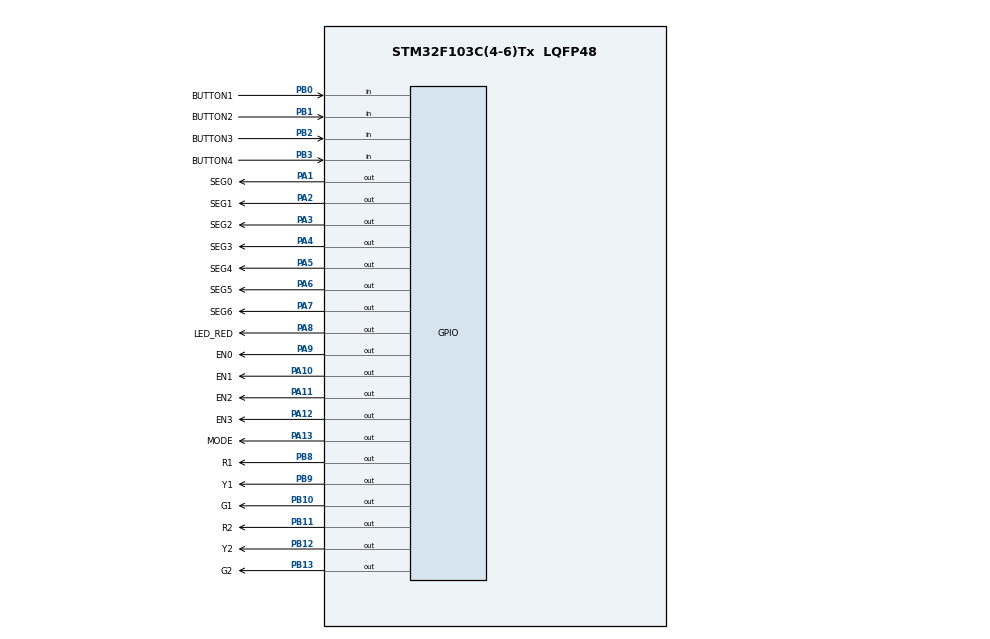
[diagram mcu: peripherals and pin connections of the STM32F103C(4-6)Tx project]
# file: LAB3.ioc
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Mcu.Family=STM32F1
Mcu.Name=STM32F103C(4-6)Tx
Mcu.Package=LQFP48
NVIC.PriorityGroup=NVIC_PRIORITYGROUP_4
NVIC.TIM2_IRQn=true\:0\:0\:false\:false\:true\:true\:true\:true
PA1.GPIO_Label=SEG0
PA1.Signal=GPIO_Output
PA10.GPIO_Label=EN1
PA10.Signal=GPIO_Output
PA11.GPIO_Label=EN2
PA11.Signal=GPIO_Output
PA12.GPIO_Label=EN3
PA12.Signal=GPIO_Output
PA13.GPIO_Label=MODE
PA13.Signal=GPIO_Output
PA2.GPIO_Label=SEG1
PA2.Signal=GPIO_Output
PA3.GPIO_Label=SEG2
PA3.Signal=GPIO_Output
PA4.GPIO_Label=SEG3
PA4.Signal=GPIO_Output
PA5.GPIO_Label=SEG4
PA5.Signal=GPIO_Output
PA6.GPIO_Label=SEG5
PA6.Signal=GPIO_Output
PA7.GPIO_Label=SEG6
PA7.Signal=GPIO_Output
PA8.GPIO_Label=LED_RED
PA8.Signal=GPIO_Output
PA9.GPIO_Label=EN0
PA9.Signal=GPIO_Output
PB0.GPIO_Label=BUTTON1
PB0.GPIO_PuPd=GPIO_PULLUP
PB0.Signal=GPIO_Input
PB1.GPIO_Label=BUTTON2
PB1.GPIO_PuPd=GPIO_PULLUP
PB1.Signal=GPIO_Input
PB10.GPIO_Label=G1
PB10.Signal=GPIO_Output
PB11.GPIO_Label=R2
PB11.Signal=GPIO_Output
PB12.GPIO_Label=Y2
PB12.Signal=GPIO_Output
PB13.GPIO_Label=G2
PB13.Signal=GPIO_Output
PB2.GPIO_Label=BUTTON3
PB2.GPIO_PuPd=GPIO_PULLUP
PB2.Signal=GPIO_Input
PB3.GPIO_Label=BUTTON4
PB3.GPIO_PuPd=GPIO_PULLUP
PB3.Signal=GPIO_Input
PB8.GPIO_Label=R1
PB8.Signal=GPIO_Output
PB9.GPIO_Label=Y1
PB9.Signal=GPIO_Output
ProjectManager.HeapSize=0x200
ProjectManager.StackSize=0x400
ProjectManager.TargetToolchain=STM32CubeIDE
RCC.APB1Freq_Value=8000000
RCC.APB2Freq_Value=8000000
TIM2.Period=9
TIM2.Prescaler=7999
VP_SYS_VS_ND.Mode=No_Debug
VP_TIM2_VS_ClockSourceINT.Mode=Internal
board=custom

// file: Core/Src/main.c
/* USER CODE BEGIN Header */
/**
  ******************************************************************************
  * @file           : main.c
  * @brief          : Main program body
  ******************************************************************************
  * @attention
  *
  * Copyright (c) 2024 STMicroelectronics.
  * All rights reserved.
  *
  * This software is licensed under terms that can be found in the LICENSE file
  * in the root directory of this software component.
  * If no LICENSE file comes with this software, it is provided AS-IS.
  *
  ******************************************************************************
  */
/* USER CODE END Header */
#include "main.h"

/* USER CODE BEGIN Includes */
#include "software_timer.h"
#include "output_LED7SEG.h"
#include "output_traffic.h"
#include "fsm_processing.h"
#include "input_reading.h"
/* USER CODE END Includes */

TIM_HandleTypeDef htim2;

void SystemClock_Config(void);
static void MX_GPIO_Init(void);
static void MX_TIM2_Init(void);

int main(void)
{

  /* MCU Configuration--------------------------------------------------------*/

  /* Reset of all peripherals, Initializes the Flash interface and the Systick. */
  HAL_Init();

  /* Configure the system clock */
  SystemClock_Config();

  /* Initialize all configured peripherals */
  MX_GPIO_Init();
  MX_TIM2_Init();
  /* USER CODE BEGIN 2 */
  HAL_TIM_Base_Start_IT(&htim2);

  led7SegInit();
  fsmInit();
  setTimer(0, LED7SEG_SCANNING_DURATION);
  /* USER CODE END 2 */

  /* Infinite loop */
  /* USER CODE BEGIN WHILE */
  while (1)
  {
	  if (getTimerFlag(0) == 1)
	  {
		  setTimer(0, LED7SEG_SCANNING_DURATION);
		  led7Scanning();
	  }

	  fsmProcessing();
    /* USER CODE END WHILE */

  }
}

void SystemClock_Config(void)
{
  RCC_OscInitTypeDef RCC_OscInitStruct = {0};
  RCC_ClkInitTypeDef RCC_ClkInitStruct = {0};

  /** Initializes the RCC Oscillators according to the specified parameters
  * in the RCC_OscInitTypeDef structure.
  */
  RCC_OscInitStruct.OscillatorType = RCC_OSCILLATORTYPE_HSI;
  RCC_OscInitStruct.HSIState = RCC_HSI_ON;
  RCC_OscInitStruct.HSICalibrationValue = RCC_HSICALIBRATION_DEFAULT;
  RCC_OscInitStruct.PLL.PLLState = RCC_PLL_NONE;
  if (HAL_RCC_OscConfig(&RCC_OscInitStruct) != HAL_OK)
  {
    Error_Handler();
  }

  /** Initializes the CPU, AHB and APB buses clocks
  */
  RCC_ClkInitStruct.ClockType = RCC_CLOCKTYPE_HCLK|RCC_CLOCKTYPE_SYSCLK
                              |RCC_CLOCKTYPE_PCLK1|RCC_CLOCKTYPE_PCLK2;
  RCC_ClkInitStruct.SYSCLKSource = RCC_SYSCLKSOURCE_HSI;
  RCC_ClkInitStruct.AHBCLKDivider = RCC_SYSCLK_DIV1;
  RCC_ClkInitStruct.APB1CLKDivider = RCC_HCLK_DIV1;
  RCC_ClkInitStruct.APB2CLKDivider = RCC_HCLK_DIV1;

  if (HAL_RCC_ClockConfig(&RCC_ClkInitStruct, FLASH_LATENCY_0) != HAL_OK)
  {
    Error_Handler();
  }
}

static void MX_TIM2_Init(void)
{

  TIM_ClockConfigTypeDef sClockSourceConfig = {0};
  TIM_MasterConfigTypeDef sMasterConfig = {0};

  htim2.Instance = TIM2;
  htim2.Init.Prescaler = 7999;
  htim2.Init.CounterMode = TIM_COUNTERMODE_UP;
  htim2.Init.Period = 9;
  htim2.Init.ClockDivision = TIM_CLOCKDIVISION_DIV1;
  htim2.Init.AutoReloadPreload = TIM_AUTORELOAD_PRELOAD_DISABLE;
  if (HAL_TIM_Base_Init(&htim2) != HAL_OK)
  {
    Error_Handler();
  }
  sClockSourceConfig.ClockSource = TIM_CLOCKSOURCE_INTERNAL;
  if (HAL_TIM_ConfigClockSource(&htim2, &sClockSourceConfig) != HAL_OK)
  {
    Error_Handler();
  }
  sMasterConfig.MasterOutputTrigger = TIM_TRGO_RESET;
  sMasterConfig.MasterSlaveMode = TIM_MASTERSLAVEMODE_DISABLE;
  if (HAL_TIMEx_MasterConfigSynchronization(&htim2, &sMasterConfig) != HAL_OK)
  {
    Error_Handler();
  }

}

static void MX_GPIO_Init(void)
{
  GPIO_InitTypeDef GPIO_InitStruct = {0};

  /* GPIO Ports Clock Enable */
  __HAL_RCC_GPIOA_CLK_ENABLE();
  __HAL_RCC_GPIOB_CLK_ENABLE();

  /*Configure GPIO pin Output Level */
  HAL_GPIO_WritePin(GPIOA, SEG0_Pin|SEG1_Pin|SEG2_Pin|SEG3_Pin
                          |SEG4_Pin|SEG5_Pin|SEG6_Pin|LED_RED_Pin
                          |EN0_Pin|EN1_Pin|EN2_Pin|EN3_Pin
                          |MODE_Pin, GPIO_PIN_RESET);

  /*Configure GPIO pin Output Level */
  HAL_GPIO_WritePin(GPIOB, G1_Pin|R2_Pin|Y2_Pin|G2_Pin
                          |R1_Pin|Y1_Pin, GPIO_PIN_RESET);

  /*Configure GPIO pins : SEG0_Pin SEG1_Pin SEG2_Pin SEG3_Pin
                           SEG4_Pin SEG5_Pin SEG6_Pin LED_RED_Pin
                           EN0_Pin EN1_Pin EN2_Pin EN3_Pin
                           MODE_Pin */
  GPIO_InitStruct.Pin = SEG0_Pin|SEG1_Pin|SEG2_Pin|SEG3_Pin
                          |SEG4_Pin|SEG5_Pin|SEG6_Pin|LED_RED_Pin
                          |EN0_Pin|EN1_Pin|EN2_Pin|EN3_Pin
                          |MODE_Pin;
  GPIO_InitStruct.Mode = GPIO_MODE_OUTPUT_PP;
  GPIO_InitStruct.Pull = GPIO_NOPULL;
  GPIO_InitStruct.Speed = GPIO_SPEED_FREQ_LOW;
  HAL_GPIO_Init(GPIOA, &GPIO_InitStruct);

  /*Configure GPIO pins : BUTTON1_Pin BUTTON2_Pin BUTTON3_Pin BUTTON4_Pin */
  GPIO_InitStruct.Pin = BUTTON1_Pin|BUTTON2_Pin|BUTTON3_Pin|BUTTON4_Pin;
  GPIO_InitStruct.Mode = GPIO_MODE_INPUT;
  GPIO_InitStruct.Pull = GPIO_PULLUP;
  HAL_GPIO_Init(GPIOB, &GPIO_InitStruct);

  /*Configure GPIO pins : G1_Pin R2_Pin Y2_Pin G2_Pin
                           R1_Pin Y1_Pin */
  GPIO_InitStruct.Pin = G1_Pin|R2_Pin|Y2_Pin|G2_Pin
                          |R1_Pin|Y1_Pin;
  GPIO_InitStruct.Mode = GPIO_MODE_OUTPUT_PP;
  GPIO_InitStruct.Pull = GPIO_NOPULL;
  GPIO_InitStruct.Speed = GPIO_SPEED_FREQ_LOW;
  HAL_GPIO_Init(GPIOB, &GPIO_InitStruct);

}

/* USER CODE BEGIN 4 */
void HAL_TIM_PeriodElapsedCallback(TIM_HandleTypeDef *htim)
{
	timerRun();
	buttonReading();
}
/* USER CODE END 4 */

void Error_Handler(void)
{
  __disable_irq();
  while (1)
  {
  }
}
